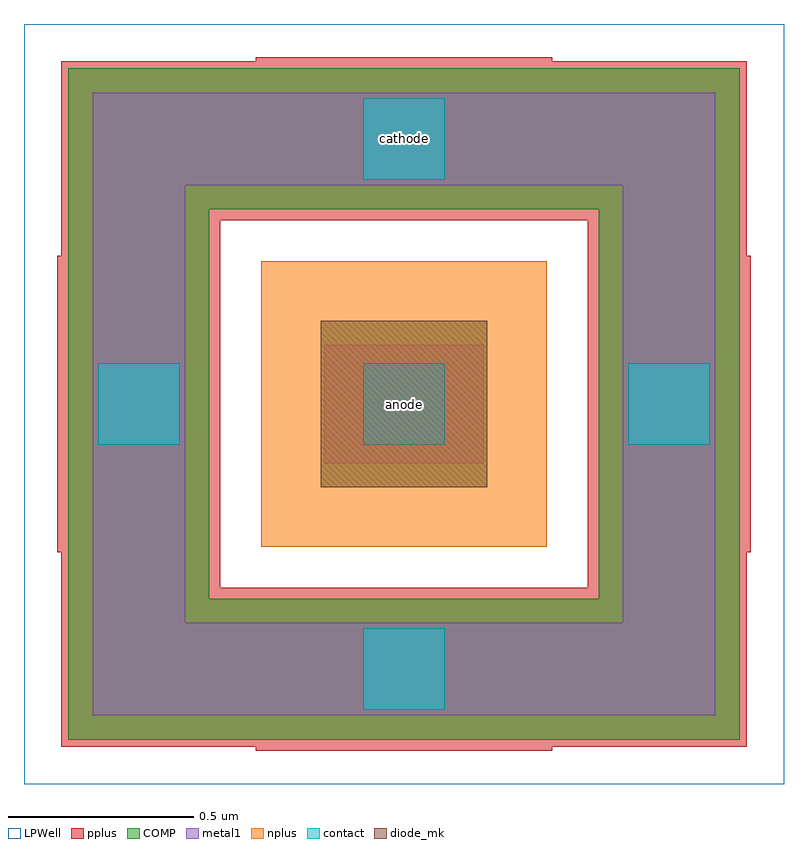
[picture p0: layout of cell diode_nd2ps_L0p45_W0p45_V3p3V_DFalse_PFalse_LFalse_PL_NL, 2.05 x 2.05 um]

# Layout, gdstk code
import gdstk
lib = gdstk.Library(unit=1e-6, precision=1e-09)
def R(c, l, rs):  # rectangles x0, y0, x1, y1
    for r in rs: c.add(gdstk.rectangle(r[:2], r[2:], *l))
COMP = (22, 0)
pplus = (31, 0)
nplus = (32, 0)
contact = (33, 0)
metal1 = (34, 0)
diode_mk = (115, 5)
LPWell = (204, 0)

rectangle_gdsfactorypcom = lib.new_cell('rectangle_gdsfactorypcomponentspshapesprectangle_S0p45__e99fa449')
R(rectangle_gdsfactorypcom, COMP, [(0,0,0.45,0.45)])

c_rectangle_gdsfactorypcom = lib.new_cell('rectangle_gdsfactorypcomponentspshapesprectangle_S0p45__f3bf5ae1')
R(c_rectangle_gdsfactorypcom, diode_mk, [(0,0,0.45,0.45)])

c_rectangle_gdsfactorypcom_ = lib.new_cell('rectangle_gdsfactorypcomponentspshapesprectangle_S0p77__680ec764')
R(c_rectangle_gdsfactorypcom_, nplus, [(0,0,0.77,0.77)])

c_rectangle_gdsfactorypcom__ = lib.new_cell('rectangle_gdsfactorypcomponentspshapesprectangle_S0p22__bfea7709')
R(c_rectangle_gdsfactorypcom__, contact, [(0,0,0.22,0.22)])

c_rectangle_gdsfactorypcom___ = lib.new_cell('rectangle_gdsfactorypcomponentspshapesprectangle_S0p43__e084ece7')
R(c_rectangle_gdsfactorypcom___, metal1, [(0,0,0.43,0.32)])

c_rectangle_gdsfactorypcom____ = lib.new_cell('rectangle_gdsfactorypcomponentspshapesprectangle_S1p81__c65494f4')
R(c_rectangle_gdsfactorypcom____, COMP, [(0,0,1.81,0.38)])

c_rectangle_gdsfactorypcom_____ = lib.new_cell('rectangle_gdsfactorypcomponentspshapesprectangle_S0p38__5c4cddad')
R(c_rectangle_gdsfactorypcom_____, COMP, [(0,0,0.38,1.05)])

c_rectangle_gdsfactorypcom______ = lib.new_cell('rectangle_gdsfactorypcomponentspshapesprectangle_S1p68__48ce0e7f')
R(c_rectangle_gdsfactorypcom______, metal1, [(0,0,1.68,0.25)])

c_rectangle_gdsfactorypcom_______ = lib.new_cell('rectangle_gdsfactorypcomponentspshapesprectangle_S0p25__25ee4216')
R(c_rectangle_gdsfactorypcom_______, metal1, [(0,0,0.25,1.18)])

c_rectangle_gdsfactorypcom________ = lib.new_cell('rectangle_gdsfactorypcomponentspshapesprectangle_S2p05__ea31192a')
R(c_rectangle_gdsfactorypcom________, LPWell, [(0,0,2.05,2.05)])

diode_nd2ps_l0p45_w0p45_ = lib.new_cell('diode_nd2ps_L0p45_W0p45_V3p3V_DFalse_PFalse_LFalse_PL_NL')
R(diode_nd2ps_l0p45_w0p45_, pplus, [(-0.4,-0.935,0.4,-0.925), (-0.925,-0.925,0.925,-0.495), (-0.925,-0.495,-0.495,0.495), (0.495,-0.495,0.925,0.495), (-0.935,-0.4,-0.925,0.4), (0.925,-0.4,0.935,0.4), (-0.925,0.495,0.925,0.925), (-0.4,0.925,0.4,0.935)])
diode_nd2ps_l0p45_w0p45_.add(gdstk.Reference(rectangle_gdsfactorypcom, (-0.225,-0.225)))
diode_nd2ps_l0p45_w0p45_.add(gdstk.Reference(c_rectangle_gdsfactorypcom, (-0.225,-0.225)))
diode_nd2ps_l0p45_w0p45_.add(gdstk.Reference(c_rectangle_gdsfactorypcom_, (-0.385,-0.385)))
diode_nd2ps_l0p45_w0p45_.add(gdstk.Reference(c_rectangle_gdsfactorypcom__, (-0.11,-0.11)))
diode_nd2ps_l0p45_w0p45_.add(gdstk.Reference(c_rectangle_gdsfactorypcom___, (-0.215,-0.16)))
diode_nd2ps_l0p45_w0p45_.add(gdstk.Reference(c_rectangle_gdsfactorypcom____, (-0.905,0.525)))
diode_nd2ps_l0p45_w0p45_.add(gdstk.Reference(c_rectangle_gdsfactorypcom____, (-0.905,-0.905)))
diode_nd2ps_l0p45_w0p45_.add(gdstk.Reference(c_rectangle_gdsfactorypcom_____, (-0.905,-0.525)))
diode_nd2ps_l0p45_w0p45_.add(gdstk.Reference(c_rectangle_gdsfactorypcom_____, (0.525,-0.525)))
diode_nd2ps_l0p45_w0p45_.add(gdstk.Reference(c_rectangle_gdsfactorypcom______, (-0.84,0.59)))
diode_nd2ps_l0p45_w0p45_.add(gdstk.Reference(c_rectangle_gdsfactorypcom______, (-0.84,-0.84)))
diode_nd2ps_l0p45_w0p45_.add(gdstk.Reference(c_rectangle_gdsfactorypcom_______, (-0.84,-0.59)))
diode_nd2ps_l0p45_w0p45_.add(gdstk.Reference(c_rectangle_gdsfactorypcom_______, (0.59,-0.59)))
diode_nd2ps_l0p45_w0p45_.add(gdstk.Reference(c_rectangle_gdsfactorypcom__, (-0.825,-0.11)))
diode_nd2ps_l0p45_w0p45_.add(gdstk.Reference(c_rectangle_gdsfactorypcom__, (0.605,-0.11)))
diode_nd2ps_l0p45_w0p45_.add(gdstk.Reference(c_rectangle_gdsfactorypcom__, (-0.11,0.605)))
diode_nd2ps_l0p45_w0p45_.add(gdstk.Reference(c_rectangle_gdsfactorypcom__, (-0.11,-0.825)))
diode_nd2ps_l0p45_w0p45_.add(gdstk.Reference(c_rectangle_gdsfactorypcom________, (-1.025,-1.025)))
diode_nd2ps_l0p45_w0p45_.add(gdstk.Label('anode', (0,0), layer=34, texttype=10))
diode_nd2ps_l0p45_w0p45_.add(gdstk.Label('cathode', (0,0.715), layer=34, texttype=10))

lib.write_gds('diode_nd2ps_L0p45_W0p45_V3p3V_DFalse_PFalse_LFalse_PL_NL.gds')
